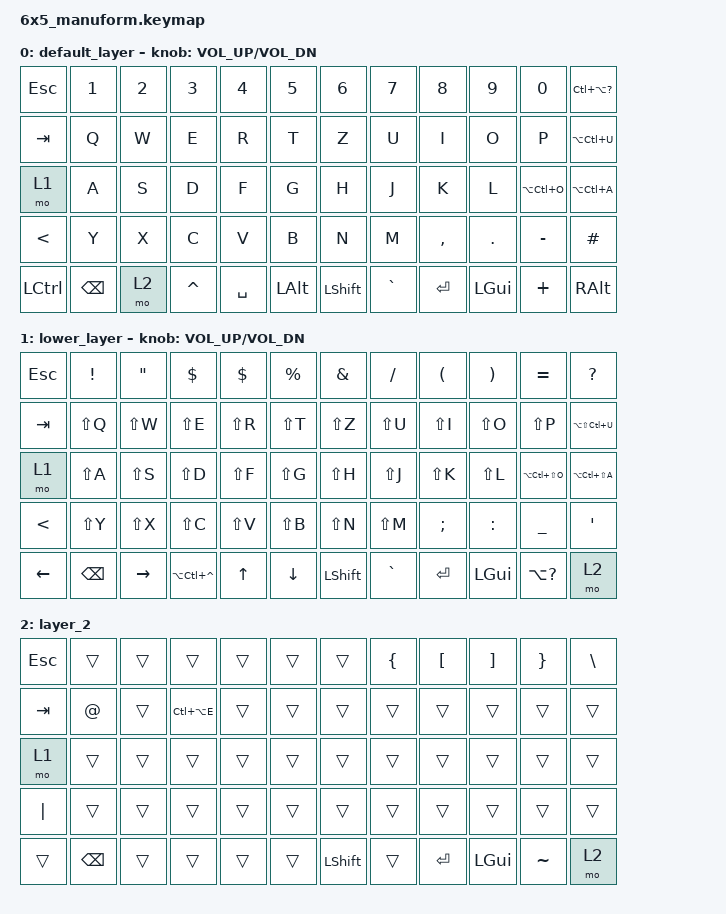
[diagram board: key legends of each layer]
/*
 * Copyright (c) 2020 The ZMK Contributors
 *
 * SPDX-License-Identifier: MIT
 */

#include <behaviors.dtsi>
#include <dt-bindings/zmk/keys.h>

/ {
    keymap {
        compatible = "zmk,keymap";

        default_layer {
            // ------------------------------------------------------------------------------------------------------------
            // |  ESC   |  1  |  2  |  3   |  4   |  5   |                    |  6   |  7    |  8    |  9   |   0   |   `   |
            // |  TAB   |  Q  |  W  |  E   |  R   |  T   |                    |  Y   |  U    |  I    |  O   |   P   |   -   |
            // |  CTRL  |  A  |  S  |  D   |  F   |  G   |                    |  H   |  J    |  K    |  L   |   ;   |   '   |
            // | SHIFT  |  Z  |  X  |  C   |  V   |  B   |                    |  N   |  M    |  ,    |  .   |   /   | SHIFT |
            // |    2   |  2  | f   | 6    | 4    | 1    |                    | 2    | 1     | w     | s    | n     |  a    |

            bindings = <
  &kp ESC    &kp N1  &kp N2     &kp N3     &kp N4    &kp N5          &kp N6     &kp N7     &kp N8        &kp N9         &kp N0  &kp LC(LA(QUESTION))
  &kp TAB     &kp Q   &kp W      &kp E      &kp R     &kp T           &kp Z      &kp U      &kp I         &kp O          &kp P         &kp LA(LC(U))
    &mo 1     &kp A   &kp S      &kp D      &kp F     &kp G           &kp H      &kp J      &kp K         &kp L  &kp LA(LC(O))         &kp LA(LC(A))
   &kp LT     &kp Y   &kp X      &kp C      &kp V     &kp B           &kp N      &kp M  &kp COMMA       &kp DOT      &kp MINUS              &kp HASH
&kp LCTRL  &kp BSPC   &mo 2  &kp CARET  &kp SPACE  &kp LALT  &kp LEFT_SHIFT  &kp GRAVE    &kp RET  &kp LEFT_GUI       &kp PLUS         &kp RIGHT_ALT
            >;

            sensor-bindings = <&inc_dec_kp C_VOL_UP C_VOL_DN>;
        };

        lower_layer {
            // ------------------------------------------------------------------------------------------------------------
            // | BTCLR | BT1 | BT2 |  BT3 |  BT4 |  BT5 |                   |      |       |       |      |       |       |
            // |  F1   |  F2 |  F3 |  F4  |  F5  |  F6  |                   |  F7  |  F8   |  F9   |  F10 |  F11  |  F12  |
            // |   `   |  !  |  @  |  #   |  $   |  %   |                   |  ^   |  &    |  *    |  (   |   )   |   ~   |
            // |       |     |     |      |      |      |                   |      |  _    |  +    |  {   |   }   |  "|"  |
            // |       |     |     |      |      |      |                   |      |       |       |      |       |       |

            bindings = <
       &kp ESC  &kp EXCLAMATION  &kp DOUBLE_QUOTES         &kp DOLLAR    &kp DOLLAR     &kp PERCENT        &kp AMPS  &kp SLASH  &kp LEFT_PARENTHESIS  &kp RIGHT_PARENTHESIS          &kp EQUAL       &kp QUESTION
       &kp TAB        &kp LS(Q)          &kp LS(W)          &kp LS(E)     &kp LS(R)       &kp LS(T)       &kp LS(Z)  &kp LS(U)             &kp LS(I)              &kp LS(O)          &kp LS(P)  &kp LA(LS(LC(U)))
         &mo 1        &kp LS(A)          &kp LS(S)          &kp LS(D)     &kp LS(F)       &kp LS(G)       &kp LS(H)  &kp LS(J)             &kp LS(K)              &kp LS(L)  &kp LA(LC(LS(O)))  &kp LA(LC(LS(A)))
 &kp LESS_THAN        &kp LS(Y)          &kp LS(X)          &kp LS(C)     &kp LS(V)       &kp LS(B)       &kp LS(N)  &kp LS(M)         &kp SEMICOLON              &kp COLON     &kp UNDERSCORE            &kp SQT
&kp LEFT_ARROW    &kp BACKSPACE    &kp RIGHT_ARROW  &kp LA(LC(CARET))  &kp UP_ARROW  &kp DOWN_ARROW  &kp LEFT_SHIFT  &kp GRAVE             &kp ENTER           &kp LEFT_GUI   &kp LA(QUESTION)              &mo 2
            >;

            sensor-bindings = <&inc_dec_kp C_VOL_UP C_VOL_DN>;
        };

        layer_2 {
            bindings = <
&kp ESCAPE         &trans  &trans         &trans  &trans  &trans          &trans  &kp LEFT_BRACE  &kp LEFT_BRACKET  &kp RIGHT_BRACKET  &kp RIGHT_BRACE  &kp BACKSLASH
   &kp TAB    &kp AT_SIGN  &trans  &kp LC(LA(E))  &trans  &trans          &trans          &trans            &trans             &trans           &trans         &trans
     &mo 1         &trans  &trans         &trans  &trans  &trans          &trans          &trans            &trans             &trans           &trans         &trans
  &kp PIPE         &trans  &trans         &trans  &trans  &trans          &trans          &trans            &trans             &trans           &trans         &trans
    &trans  &kp BACKSPACE  &trans         &trans  &trans  &trans  &kp LEFT_SHIFT          &trans         &kp ENTER       &kp LEFT_GUI        &kp TILDE          &mo 2
            >;
        };
    };
};
